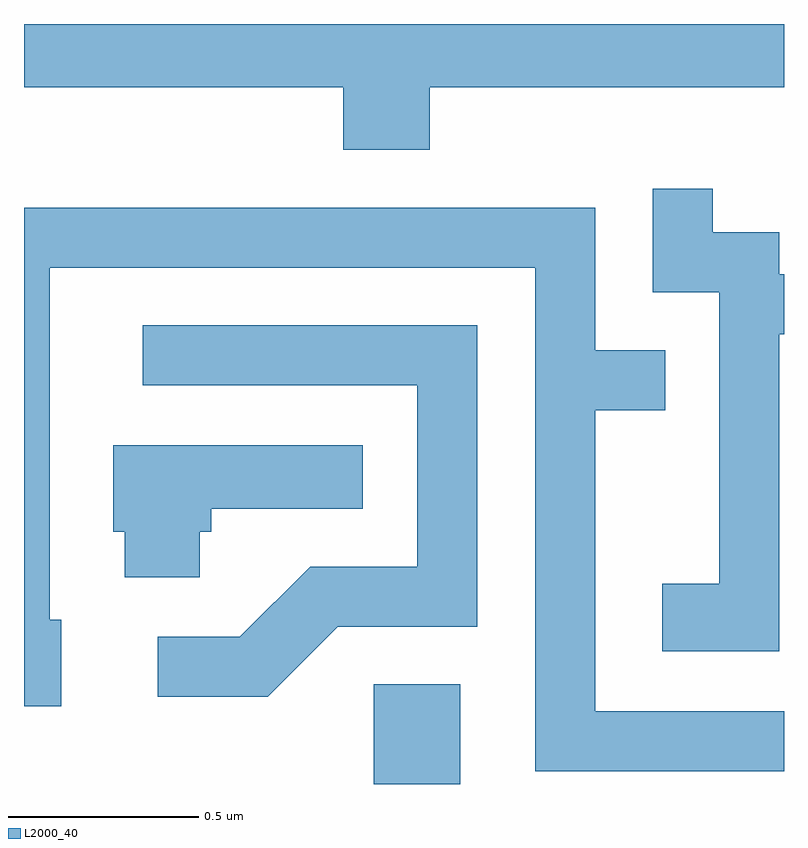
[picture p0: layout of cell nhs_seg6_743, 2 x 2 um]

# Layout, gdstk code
import gdstk
lib = gdstk.Library(unit=1e-6, precision=1e-09)
def R(c, l, rs):  # rectangles x0, y0, x1, y1
    for r in rs: c.add(gdstk.rectangle(r[:2], r[2:], *l))
def P(c, l, *ps):  # polygons
    for p in ps: c.add(gdstk.Polygon(p, *l))
L2000_40 = (2000, 40)

nhs_seg6_743 = lib.new_cell('nhs_seg6_743')
R(nhs_seg6_743, L2000_40, [(191.531,1588.162,191.759,1588.424)])
P(nhs_seg6_743, L2000_40, [(191.679,1589.996),(192.611,1589.996),(192.611,1590.162),(190.611,1590.162),(190.611,1589.996),(191.451,1589.996),(191.451,1589.831),(191.679,1589.831)],
  [(192.599,1589.346),(192.611,1589.346),(192.611,1589.504),(192.599,1589.504),(192.599,1589.614),(192.424,1589.614),(192.424,1589.728),(192.266,1589.728),(192.266,1589.456),(192.441,1589.456),(192.441,1588.689),(192.291,1588.689),(192.291,1588.511),(192.599,1588.511)],
  [(192.611,1588.354),(192.114,1588.354),(192.114,1589.146),(192.298,1589.146),(192.298,1589.304),(192.114,1589.304),(192.114,1589.679),(190.611,1589.679),(190.611,1588.366),(190.709,1588.366),(190.709,1588.594),(190.679,1588.594),(190.679,1589.521),(191.956,1589.521),(191.956,1588.196),(192.611,1588.196)],
  [(191.437,1588.576),(191.804,1588.576),(191.804,1589.369),(190.923,1589.369),(190.923,1589.211),(191.646,1589.211),(191.646,1588.734),(191.364,1588.734),(191.179,1588.549),(190.963,1588.549),(190.963,1588.391),(191.252,1588.391)],
  [(191.074,1588.826),(191.104,1588.826),(191.104,1588.886),(191.503,1588.886),(191.503,1589.054),(190.846,1589.054),(190.846,1588.826),(190.876,1588.826),(190.876,1588.706),(191.074,1588.706)])

lib.write_gds('nhs_seg6_743.gds')
